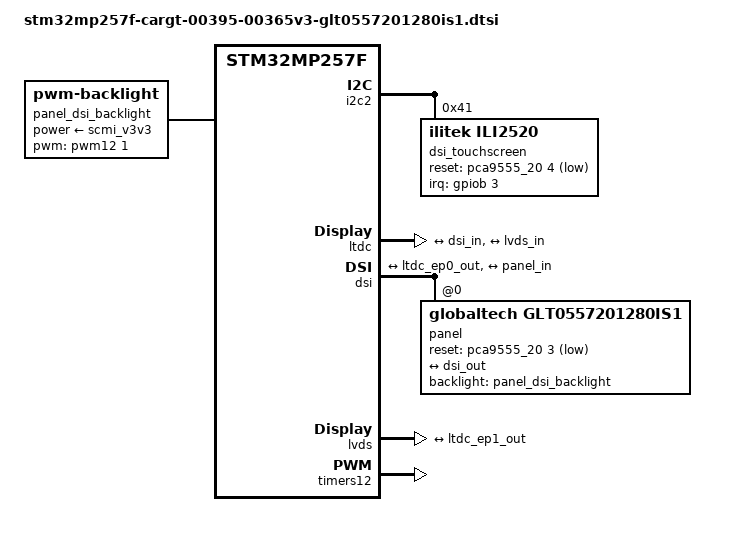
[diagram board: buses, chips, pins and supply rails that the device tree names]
/ {
	panel_dsi_backlight: panel-dsi-backlight {
		compatible = "pwm-backlight";
		pwms = <&pwm12 1 1000000 0>;
		brightness-levels = <0 100>;
		num-interpolated-steps = <100>;
		default-brightness-level = <80>;
		power-supply = <&scmi_v3v3>;
		status = "okay";
	};

/*
	panel_dsi_backlight: panel-dsi-backlight {
		compatible = "gpio-backlight";
		gpios = <&gpiof 8 GPIO_ACTIVE_HIGH>;
		default-on;
		default-brightness-level = <1>;
		status = "okay";
	};
*/
};

&i2c2 {
	dsi_touchscreen@41 {
		compatible = "ilitek,ili2520";
		reg = <0x41>;
		pinctrl-0 = <&pinctrl_dsi_touchscreen>;
		reset-gpios = <&pca9555_20 4 GPIO_ACTIVE_LOW>;
		interrupt-parent = <&gpiob>;
		interrupts = <3 IRQ_TYPE_LEVEL_LOW>;
		touchscreen-swapped-x-y;
		touchscreen-inverted-x;
		wakeup-source;
	};
};

&ltdc {
	default-on;
	rotation-memory = <&ltdc_sec_rotation>;

	port {
		#address-cells = <1>;
		#size-cells = <0>;

		ltdc_ep0_out: endpoint@0 {
			reg = <0>;
			remote-endpoint = <&dsi_in>;
		};

		ltdc_ep1_out: endpoint@1 {
			reg = <1>;
			remote-endpoint = <&lvds_in>;
		};
	};
};

&dsi {
	vdd-supply =  <&scmi_vddcore>;
	vdda18-supply = <&scmi_v1v8>;
	status = "okay";

	#address-cells = <1>;
	#size-cells = <0>;

	ports {
		#address-cells = <1>;
		#size-cells = <0>;

		port@0 {
			reg = <0>;
			dsi_in: endpoint {
				remote-endpoint = <&ltdc_ep0_out>;
			};
		};

		port@1 {
			reg = <1>;
			dsi_out: endpoint {
				remote-endpoint = <&panel_in>;
			};
		};
	};

	panel@0 {
		compatible = "globaltech,glt0557201280is1", "ilitek,ili9881c";
		reg = <0>;
		pinctrl-names = "default";
		rotation = <90>;
		reset-gpios = <&pca9555_20 3 GPIO_ACTIVE_LOW>;
		backlight = <&panel_dsi_backlight>;
		status = "okay";

		port {
			panel_in: endpoint {
				remote-endpoint = <&dsi_out>;
			};
		};
	};
};

&lvds {
	default-on;
	vdd-supply =  <&scmi_vddcore>;
	vdda18-supply = <&scmi_v1v8>;

	ports {
		#address-cells = <1>;
		#size-cells = <0>;

		port@0 {
			reg = <0>;
			lvds_in: endpoint {
				remote-endpoint = <&ltdc_ep1_out>;
			};
		};
	};	
};

&timers12 {
	/delete-property/pinctrl-names;
	/delete-property/pinctrl-0;
	/delete-property/pinctrl-1;
	/delete-property/dmas;
	/delete-property/dma-names;	
	status = "okay";

	pwm12: pwm {
		pinctrl-names = "default", "sleep";
		pinctrl-0 = <&tim12_pwm_pins_mx>;
		pinctrl-1 = <&tim12_pwm_sleep_pins_mx>;
		status = "okay";
	};		
};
